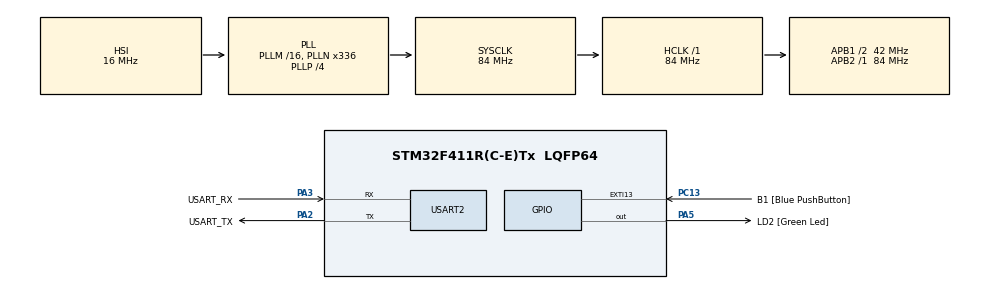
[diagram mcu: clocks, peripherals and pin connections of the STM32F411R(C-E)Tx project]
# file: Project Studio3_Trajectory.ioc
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Mcu.Family=STM32F4
Mcu.Name=STM32F411R(C-E)Tx
Mcu.Package=LQFP64
NVIC.PriorityGroup=NVIC_PRIORITYGROUP_0
PA13.GPIO_Label=TMS
PA13.Mode=Serial_Wire
PA13.Signal=SYS_JTMS-SWDIO
PA14.GPIO_Label=TCK
PA14.Mode=Serial_Wire
PA14.Signal=SYS_JTCK-SWCLK
PA2.GPIO_Label=USART_TX
PA2.Mode=Asynchronous
PA2.Signal=USART2_TX
PA3.GPIO_Label=USART_RX
PA3.Mode=Asynchronous
PA3.Signal=USART2_RX
PA5.GPIO_Label=LD2 [Green Led]
PA5.Signal=GPIO_Output
PB3.GPIO_Label=SWO
PB3.Signal=SYS_JTDO-SWO
PC13-ANTI_TAMP.GPIO_Label=B1 [Blue PushButton]
PC13-ANTI_TAMP.GPIO_ModeDefaultEXTI=GPIO_MODE_IT_FALLING
PC13-ANTI_TAMP.Signal=GPXTI13
PC14-OSC32_IN.Mode=LSE-External-Oscillator
PC14-OSC32_IN.Signal=RCC_OSC32_IN
PC15-OSC32_OUT.Mode=LSE-External-Oscillator
PC15-OSC32_OUT.Signal=RCC_OSC32_OUT
PH0\ -\ OSC_IN.Mode=HSE-External-Clock-Source
PH0\ -\ OSC_IN.Signal=RCC_OSC_IN
PH1\ -\ OSC_OUT.Mode=HSE-External-Clock-Source
PH1\ -\ OSC_OUT.Signal=RCC_OSC_OUT
ProjectManager.HeapSize=0x200
ProjectManager.StackSize=0x400
ProjectManager.TargetToolchain=STM32CubeIDE
RCC.48MHZClocksFreq_Value=84000000
RCC.AHBFreq_Value=84000000
RCC.APB1CLKDivider=RCC_HCLK_DIV2
RCC.APB1Freq_Value=42000000
RCC.APB1TimFreq_Value=84000000
RCC.APB2Freq_Value=84000000
RCC.APB2TimFreq_Value=84000000
RCC.CortexFreq_Value=84000000
RCC.FLatency-AdvancedSettings=FLASH_LATENCY_2
RCC.HCLKFreq_Value=84000000
RCC.HSE_VALUE=8000000
RCC.HSI_VALUE=16000000
RCC.PLLN=336
RCC.PLLP=RCC_PLLP_DIV4
RCC.SYSCLKFreq_VALUE=84000000
RCC.SYSCLKSource=RCC_SYSCLKSOURCE_PLLCLK
RCC.VCOOutputFreq_Value=336000000
USART2.VirtualMode=VM_ASYNC
board=NUCLEO-F411RE

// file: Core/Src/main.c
/* USER CODE BEGIN Header */
/**
  ******************************************************************************
  * @file           : main.c
  * @brief          : Main program body
  ******************************************************************************
  * @attention
  *
  * Copyright (c) 2023 STMicroelectronics.
  * All rights reserved.
  *
  * This software is licensed under terms that can be found in the LICENSE file
  * in the root directory of this software component.
  * If no LICENSE file comes with this software, it is provided AS-IS.
  *
  ******************************************************************************
  */
/* USER CODE END Header */
#include "main.h"

/* USER CODE BEGIN Includes */
#include "math.h"
/* USER CODE END Includes */

UART_HandleTypeDef huart2;

/* USER CODE BEGIN PV */

typedef struct
{
	float x;
	float y;
}point;

//finding_point pv
point cen_point_1; //input
point x_point_1;  //input
point y_point_1;  //input
float theta_1;   //parameter
point keep_point_1[9]; //result

point cen_point_2; //input
point x_point_2;  //input
point y_point_2;  //input
float theta_2;   //parameter
point keep_point_2[9]; //result

int qua;

//trajectory
  //init
point start_trapi;
point stop_trapi;

float V_max_x;
float V_max_y;
float A_max_x;
float A_max_y;
float start_time;
  //parameter
float delta_x;
float delta_y;
float side_x=1;
float side_y=1;
float t_c_x;
float t_c_y;
int x_case = 0;
int y_case = 0;

float position_1_x=0;
float position_2_x=0;
float position_1_y=0;
float position_2_y=0;

float tb_x_1;
float tb_x_2;
float tb_x_3;
float tb_y_1;
float tb_y_2;
float tb_y_3;

 //output
point Position_trapi;
float v_x_trapi;
float v_y_trapi;

/* USER CODE END PV */

void SystemClock_Config(void);
static void MX_GPIO_Init(void);
static void MX_USART2_UART_Init(void);

/* USER CODE BEGIN 0 */

//defined function point finding

void cal_point();
void init_cal_point();

void update_trapi(float time_now);
void cal_trapi(float time_now);

/* USER CODE END 0 */

int main(void)
{
  /* USER CODE BEGIN 1 */
	 init_cal_point();

  /* USER CODE END 1 */

  /* MCU Configuration--------------------------------------------------------*/

  /* Reset of all peripherals, Initializes the Flash interface and the Systick. */
  HAL_Init();

  /* Configure the system clock */
  SystemClock_Config();

  /* Initialize all configured peripherals */
  MX_GPIO_Init();
  MX_USART2_UART_Init();
  /* USER CODE BEGIN 2 */
//
//  cen_point_1.x = 10;
//  cen_point_1.y = 10;
//  x_point_1.x = 20.41;
//  x_point_1.y = -49.08;
//  y_point_1.x = 59.24;
//  y_point_1.y = 18.68;
//
//  cen_point_2.x = 10;
//  cen_point_2.y = 10;
//  x_point_2.x = 20.41;
//  x_point_2.y = -49.08;
//  y_point_2.x = 59.24;
//  y_point_2.y = 18.68;
//  cal_point();
  stop_trapi.x = 0;
  start_trapi.x = 100;

  stop_trapi.y = 0;
  start_trapi.y = 0;

  V_max_x = 900;
  A_max_x = 2200;
  start_time = 0;
  update_trapi(HAL_GetTick()/1000.0);

  /* USER CODE END 2 */

  /* Infinite loop */
  while (1)
  {

	  /* USER CODE BEGIN 3 */
	  cal_trapi(HAL_GetTick()/1000.0);
	  if(Position_trapi.x == 0)
	  {
		  start_trapi.x = 0;
		  stop_trapi.x = 700;
		  update_trapi(HAL_GetTick()/1000.0);
	  }
	  else if(Position_trapi.x == 700)
	  {
		  start_trapi.x = 700;
		  stop_trapi.x = 0;
		  update_trapi(HAL_GetTick()/1000.0);
	  }
  }
  /* USER CODE END 3 */
}

void SystemClock_Config(void)
{
  RCC_OscInitTypeDef RCC_OscInitStruct = {0};
  RCC_ClkInitTypeDef RCC_ClkInitStruct = {0};

  /** Configure the main internal regulator output voltage
  */
  __HAL_RCC_PWR_CLK_ENABLE();
  __HAL_PWR_VOLTAGESCALING_CONFIG(PWR_REGULATOR_VOLTAGE_SCALE1);

  /** Initializes the RCC Oscillators according to the specified parameters
  * in the RCC_OscInitTypeDef structure.
  */
  RCC_OscInitStruct.OscillatorType = RCC_OSCILLATORTYPE_HSI;
  RCC_OscInitStruct.HSIState = RCC_HSI_ON;
  RCC_OscInitStruct.HSICalibrationValue = RCC_HSICALIBRATION_DEFAULT;
  RCC_OscInitStruct.PLL.PLLState = RCC_PLL_ON;
  RCC_OscInitStruct.PLL.PLLSource = RCC_PLLSOURCE_HSI;
  RCC_OscInitStruct.PLL.PLLM = 16;
  RCC_OscInitStruct.PLL.PLLN = 336;
  RCC_OscInitStruct.PLL.PLLP = RCC_PLLP_DIV4;
  RCC_OscInitStruct.PLL.PLLQ = 4;
  if (HAL_RCC_OscConfig(&RCC_OscInitStruct) != HAL_OK)
  {
    Error_Handler();
  }

  /** Initializes the CPU, AHB and APB buses clocks
  */
  RCC_ClkInitStruct.ClockType = RCC_CLOCKTYPE_HCLK|RCC_CLOCKTYPE_SYSCLK
                              |RCC_CLOCKTYPE_PCLK1|RCC_CLOCKTYPE_PCLK2;
  RCC_ClkInitStruct.SYSCLKSource = RCC_SYSCLKSOURCE_PLLCLK;
  RCC_ClkInitStruct.AHBCLKDivider = RCC_SYSCLK_DIV1;
  RCC_ClkInitStruct.APB1CLKDivider = RCC_HCLK_DIV2;
  RCC_ClkInitStruct.APB2CLKDivider = RCC_HCLK_DIV1;

  if (HAL_RCC_ClockConfig(&RCC_ClkInitStruct, FLASH_LATENCY_2) != HAL_OK)
  {
    Error_Handler();
  }
}

static void MX_USART2_UART_Init(void)
{

  huart2.Instance = USART2;
  huart2.Init.BaudRate = 115200;
  huart2.Init.WordLength = UART_WORDLENGTH_8B;
  huart2.Init.StopBits = UART_STOPBITS_1;
  huart2.Init.Parity = UART_PARITY_NONE;
  huart2.Init.Mode = UART_MODE_TX_RX;
  huart2.Init.HwFlowCtl = UART_HWCONTROL_NONE;
  huart2.Init.OverSampling = UART_OVERSAMPLING_16;
  if (HAL_UART_Init(&huart2) != HAL_OK)
  {
    Error_Handler();
  }

}

static void MX_GPIO_Init(void)
{
  GPIO_InitTypeDef GPIO_InitStruct = {0};

  /* GPIO Ports Clock Enable */
  __HAL_RCC_GPIOC_CLK_ENABLE();
  __HAL_RCC_GPIOH_CLK_ENABLE();
  __HAL_RCC_GPIOA_CLK_ENABLE();
  __HAL_RCC_GPIOB_CLK_ENABLE();

  /*Configure GPIO pin Output Level */
  HAL_GPIO_WritePin(LD2_GPIO_Port, LD2_Pin, GPIO_PIN_RESET);

  /*Configure GPIO pin : B1_Pin */
  GPIO_InitStruct.Pin = B1_Pin;
  GPIO_InitStruct.Mode = GPIO_MODE_IT_FALLING;
  GPIO_InitStruct.Pull = GPIO_NOPULL;
  HAL_GPIO_Init(B1_GPIO_Port, &GPIO_InitStruct);

  /*Configure GPIO pin : LD2_Pin */
  GPIO_InitStruct.Pin = LD2_Pin;
  GPIO_InitStruct.Mode = GPIO_MODE_OUTPUT_PP;
  GPIO_InitStruct.Pull = GPIO_NOPULL;
  GPIO_InitStruct.Speed = GPIO_SPEED_FREQ_LOW;
  HAL_GPIO_Init(LD2_GPIO_Port, &GPIO_InitStruct);

}

/* USER CODE BEGIN 4 */

//CALPOINT_FUNCTION
void init_cal_point(){
	  theta_1 = 0;
	  cen_point_1.x = 0;
	  cen_point_1.y = 0;
	  x_point_1.x = 0;
	  x_point_1.y = 0;
	  y_point_1.x = 0;
	  y_point_1.y = 0;
	  for (int i=0 ;i<9;i++){
		  keep_point_1[i].x=0;
		  keep_point_1[i].y=0;
	  }

	  theta_2 = 0;
	  cen_point_2.x = 0;
	  cen_point_2.y = 0;
	  x_point_2.x = 0;
	  x_point_2.y = 0;
	  y_point_2.x = 0;
	  y_point_2.y = 0;
	  for (int i = 0 ;i<9;i++){
	 		  keep_point_2[i].x=0;
	 		  keep_point_2[i].y=0;
	 	  }
}

//function finding point
void cal_point(){
	//1
	x_point_1.x = x_point_1.x - cen_point_1.x;
	x_point_1.y = x_point_1.y - cen_point_1.y;
	y_point_1.x = y_point_1.x - cen_point_1.x;
	y_point_1.y = y_point_1.y - cen_point_1.y;

	x_point_2.x = x_point_2.x - cen_point_2.x;
	x_point_2.y = x_point_2.y - cen_point_2.y;
	y_point_2.x = y_point_2.x - cen_point_2.x;
	y_point_2.y = y_point_2.y - cen_point_2.y;

	if ((x_point_1.y<=60)&&(0<=x_point_1.y)&&(y_point_1.y>=0)){
		theta_1 = atan(x_point_1.y/x_point_1.x);
		qua=1;

	}  //q1
	else if ((x_point_1.y<=60)&&(0<=x_point_1.y)&&(y_point_1.y<=0)){
		theta_1 = 1.5708 + atan(-x_point_1.x/x_point_1.y);
		qua=2;

	}  //q2
	else if ((x_point_1.y<=0)&&(-60<=x_point_1.y)&&(y_point_1.y<=0)){
		theta_1 = 3.14159 + atan(x_point_1.y/x_point_1.x);
		qua=3;

	}  //q3
	else if ((x_point_1.y<=0)&&(-60<=x_point_1.y)&&(y_point_1.y>=0)){
		theta_1 = 4.71239 + atan(x_point_1.x/-x_point_1.y);
		qua=4;
	}  //q4
	keep_point_1[0].x = 10*cos(theta_1) - 40*sin(theta_1) + cen_point_1.x;
	keep_point_1[0].y = 10*sin(theta_1) + 40*cos(theta_1) + cen_point_1.y;
	keep_point_1[1].x = 30*cos(theta_1) - 40*sin(theta_1) + cen_point_1.x;
	keep_point_1[1].y = 30*sin(theta_1) + 40*cos(theta_1) + cen_point_1.y;
	keep_point_1[2].x = 50*cos(theta_1) - 40*sin(theta_1) + cen_point_1.x;
	keep_point_1[2].y = 50*sin(theta_1) + 40*cos(theta_1) + cen_point_1.y;

	keep_point_1[3].x = 10*cos(theta_1) - 25*sin(theta_1) + cen_point_1.x;
	keep_point_1[3].y = 10*sin(theta_1) + 25*cos(theta_1) + cen_point_1.y;
	keep_point_1[4].x = 30*cos(theta_1) - 25*sin(theta_1) + cen_point_1.x;
	keep_point_1[4].y = 30*sin(theta_1) + 25*cos(theta_1) + cen_point_1.y;
	keep_point_1[5].x = 50*cos(theta_1) - 25*sin(theta_1) + cen_point_1.x;
	keep_point_1[5].y = 50*sin(theta_1) + 25*cos(theta_1) + cen_point_1.y;

	keep_point_1[6].x = 10*cos(theta_1) - 10*sin(theta_1) + cen_point_1.x;
	keep_point_1[6].y = 10*sin(theta_1) + 10*cos(theta_1) + cen_point_1.y;
	keep_point_1[7].x = 30*cos(theta_1) - 10*sin(theta_1) + cen_point_1.x;
	keep_point_1[7].y = 30*sin(theta_1) + 10*cos(theta_1) + cen_point_1.y;
	keep_point_1[8].x = 50*cos(theta_1) - 10*sin(theta_1) + cen_point_1.x;
	keep_point_1[8].y = 50*sin(theta_1) + 10*cos(theta_1) + cen_point_1.y;

	if ((x_point_2.y<=60)&&(0<=x_point_2.y)&&(y_point_2.y>=0)){
			theta_2 = atan(x_point_2.y/x_point_2.x);
			qua=1;

		}  //q1
		else if ((x_point_2.y<=60)&&(0<=x_point_2.y)&&(y_point_2.y<=0)){
			theta_2 = 1.5708 + atan(-x_point_2.x/x_point_2.y);
			qua=2;

		}  //q2
		else if ((x_point_2.y<=0)&&(-60<=x_point_2.y)&&(y_point_2.y<=0)){
			theta_2 = 3.14159 + atan(x_point_2.y/x_point_2.x);
			qua=3;

		}  //q3
		else if ((x_point_2.y<=0)&&(-60<=x_point_2.y)&&(y_point_2.y>=0)){
			theta_1 = 4.71239 + atan(x_point_2.x/-x_point_2.y);
			qua=4;
		}  //q4
		keep_point_2[0].x = 10*cos(theta_2) - 40*sin(theta_2) + cen_point_2.x;
		keep_point_2[0].y = 10*sin(theta_2) + 40*cos(theta_2) + cen_point_2.y;
		keep_point_2[1].x = 30*cos(theta_2) - 40*sin(theta_2) + cen_point_2.x;
		keep_point_2[1].y = 30*sin(theta_2) + 40*cos(theta_2) + cen_point_2.y;
		keep_point_2[2].x = 50*cos(theta_2) - 40*sin(theta_2) + cen_point_2.x;
		keep_point_2[2].y = 50*sin(theta_2) + 40*cos(theta_2) + cen_point_2.y;

		keep_point_2[3].x = 10*cos(theta_2) - 25*sin(theta_2) + cen_point_2.x;
		keep_point_2[3].y = 10*sin(theta_2) + 25*cos(theta_2) + cen_point_2.y;
		keep_point_2[4].x = 30*cos(theta_2) - 25*sin(theta_2) + cen_point_2.x;
		keep_point_2[4].y = 30*sin(theta_2) + 25*cos(theta_2) + cen_point_2.y;
		keep_point_2[5].x = 50*cos(theta_2) - 25*sin(theta_2) + cen_point_2.x;
		keep_point_2[5].y = 50*sin(theta_2) + 25*cos(theta_2) + cen_point_2.y;

		keep_point_2[6].x = 10*cos(theta_2) - 10*sin(theta_2) + cen_point_2.x;
		keep_point_2[6].y = 10*sin(theta_2) + 10*cos(theta_2) + cen_point_2.y;
		keep_point_2[7].x = 30*cos(theta_2) - 10*sin(theta_2) + cen_point_2.x;
		keep_point_2[7].y = 30*sin(theta_2) + 10*cos(theta_2) + cen_point_2.y;
		keep_point_2[8].x = 50*cos(theta_2) - 10*sin(theta_2) + cen_point_2.x;
		keep_point_2[8].y = 50*sin(theta_2) + 10*cos(theta_2) + cen_point_2.y;
}

//function tripizoid
void update_trapi(float time_now){
	delta_x = stop_trapi.x - start_trapi.x;
	delta_y = stop_trapi.y - start_trapi.y;
	if (delta_x<0){
		side_x = -1;
		delta_x = delta_x*(-1);
	}
	else {side_x=1;}
	if (delta_y<0){
		side_y = -1;
		delta_y = delta_y*(-1);
	}
	else {side_y=1;}
	t_c_x = sqrt(delta_x/A_max_x);
	t_c_y = sqrt(delta_y/A_max_y);

    // x case
	if (delta_x==0){
		x_case = 0;
	}
	else if ((A_max_x*t_c_x)>=(V_max_x)){
		x_case = 2;
		tb_x_1 = (V_max_x/A_max_x);
		position_1_x = start_trapi.x+ 0.5*(A_max_x)*tb_x_1*tb_x_1*side_x;
		tb_x_2 = (((delta_x)-2*(0.5*A_max_x*tb_x_1*tb_x_1))/V_max_x) + tb_x_1;
		position_2_x = position_1_x + V_max_x*(tb_x_2-tb_x_1)*side_x;
		tb_x_3 = tb_x_2 + tb_x_1;
	}
	else {
		x_case = 1;
		tb_x_1 = t_c_x;
		position_1_x = start_trapi.x + 0.5*(A_max_x)*tb_x_1*tb_x_1*side_x;
		tb_x_2 = 2*t_c_x;
	}

	// y case
		if (delta_y==0){
			y_case = 0;
		}
		else if ((A_max_y*t_c_y)>=(V_max_y)){
			y_case = 2;
			tb_y_1 = (V_max_y/A_max_y);
			tb_y_2 = (((delta_y)-2*(0.5*A_max_y*tb_y_1*tb_y_1))/V_max_y) + tb_y_1;
			tb_y_3 = tb_y_2 + tb_y_1;
		}
		else {
			y_case = 1;
			tb_y_1 = t_c_y;
			position_1_y = start_trapi.y + 0.5*(A_max_y)*tb_y_1*tb_y_1*side_y;
			tb_y_2 = 2*t_c_y;
		}
		start_time = time_now;
}

void cal_trapi(float time_now){
	float trapi_time = time_now - start_time;
	if (trapi_time < 0){trapi_time=0;}
	//x generator
	if (x_case == 0){
		Position_trapi.x = start_trapi.x;
		v_x_trapi = 0;
	}
	else if (x_case == 1){
		if ((0<=trapi_time)&&(trapi_time<=tb_x_1)){
					Position_trapi.x =start_trapi.x+ 0.5*(A_max_x)*trapi_time*trapi_time*side_x;
					v_x_trapi = A_max_x*trapi_time*side_x;
				}
		else if ((tb_x_1<=trapi_time)&&(trapi_time<=tb_x_2)){
					Position_trapi.x = position_1_x +side_x*(A_max_x*tb_x_1*(trapi_time-tb_x_1))-0.5*side_x*(A_max_x*(trapi_time-tb_x_1)*(trapi_time-tb_x_1));
					v_x_trapi =((A_max_x*tb_x_1)-((trapi_time-tb_x_1)*A_max_x))*side_x;
				}
		else if (trapi_time>tb_x_2){
					Position_trapi.x =stop_trapi.x;
					v_x_trapi =0;
				}
	}
	else if (x_case == 2){
			if ((0<=trapi_time)&&(trapi_time<=tb_x_1)){
								Position_trapi.x =start_trapi.x+ 0.5*(A_max_x)*trapi_time*trapi_time*side_x;
								v_x_trapi = A_max_x*trapi_time*side_x;
				}
			else if ((tb_x_1<=trapi_time)&&(trapi_time<=tb_x_2)){
								Position_trapi.x = position_1_x + V_max_x*(trapi_time-tb_x_1)*side_x;
								v_x_trapi = V_max_x*side_x;
				}
			else if ((tb_x_2<=trapi_time)&&(trapi_time<=tb_x_3)){
								Position_trapi.x = position_2_x + V_max_x*(trapi_time-tb_x_2)*side_x - 0.5*side_x*(A_max_x*(trapi_time-tb_x_2)*(trapi_time-tb_x_2));
								v_x_trapi = (V_max_x-((trapi_time-tb_x_2)*A_max_x))*side_x;
				}
			else if (trapi_time>tb_x_3){
								Position_trapi.x =stop_trapi.x;
								v_x_trapi =0;
				}
			}

	//y generator
	if (y_case == 0){
			Position_trapi.y = start_trapi.y;
			v_y_trapi = 0;
		}
	else if (y_case == 1){
			if ((0<=trapi_time)&&(trapi_time<=tb_y_1)){
						Position_trapi.y =start_trapi.y+ 0.5*(A_max_y)*trapi_time*trapi_time*side_y;
						v_y_trapi = A_max_y*trapi_time*side_y;
					}
			else if ((tb_y_1<=trapi_time)&&(trapi_time<=tb_y_2)){
						Position_trapi.y = position_1_y + side_y*(A_max_y*tb_y_1*(trapi_time-tb_y_1))-0.5*side_y*(A_max_y*(trapi_time-tb_y_1)*(trapi_time-tb_y_1));
						v_y_trapi =((A_max_y*tb_y_1)-((trapi_time-tb_y_1)*A_max_y))*side_y;
					}
			else if (trapi_time>tb_y_2){
						Position_trapi.y =stop_trapi.y;
						v_y_trapi =0;
					}
		}
	else if (y_case == 2){
			if ((0<=trapi_time)&&(trapi_time<=tb_y_1)){
								Position_trapi.y =start_trapi.y+ 0.5*(A_max_y)*trapi_time*trapi_time*side_y;
								v_y_trapi = A_max_y*trapi_time*side_y;
				}
			else if ((tb_y_1<=trapi_time)&&(trapi_time<=tb_y_2)){
								Position_trapi.y = position_1_y + V_max_y*(trapi_time-tb_y_1)*side_y;
								v_y_trapi = V_max_y*side_y;
				}
			else if ((tb_y_2<=trapi_time)&&(trapi_time<=tb_y_3)){
								Position_trapi.y = position_2_y + V_max_y*(trapi_time-tb_y_2)*side_y - 0.5*side_y*(A_max_y*(trapi_time-tb_y_2)*(trapi_time-tb_y_2));
								v_y_trapi = (V_max_y - ((trapi_time-tb_y_2)*A_max_y))*side_y;
				}
			else if (trapi_time>tb_y_3){
								Position_trapi.y =stop_trapi.y;
								v_y_trapi =0;
				}
			}
}

/* USER CODE END 4 */

void Error_Handler(void)
{
  __disable_irq();
  while (1)
  {
  }
}
